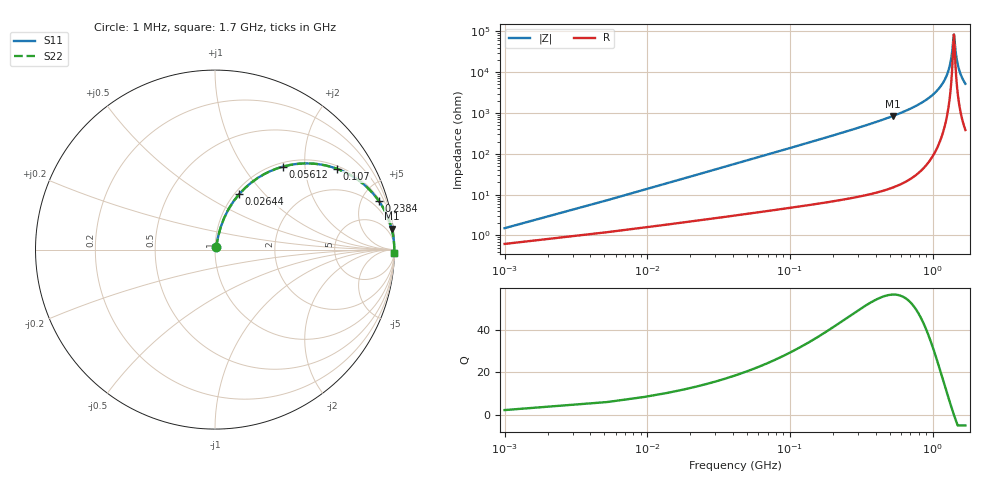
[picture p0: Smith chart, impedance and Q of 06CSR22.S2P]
! Coilcraft 0603CS-R22 Chip Inductor
! 21 May 2002
# MHZ S MA R 50
!Freq  MagS11  AngS11  MagS21  AngS21  MagS12  AngS12  MagS22  AngS22
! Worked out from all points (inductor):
!   402 points, 1 MHz to 1.7 GHz, reference 50 ohm
!   read as one part in series: L = 219 nH near 9.48 MHz
!   highest Q = 56.4 at 526.8 MHz (marker M1), where L = 254 nH
!   self-resonance near 1.409 GHz
!   S11 on the Smith chart (normalised r, x): 1 MHz: 1.01, +0.03; 26.44 MHz: 1.05, +0.73; 56.12 MHz: 1.07, +1.55; 107 MHz: 1.10, +2.96; 238.4 MHz: 1.15, +6.75; 1.7 GHz: open
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1  0.015 64.9  0.9937 -0.8  0.9937 -0.8  0.015 64.9
13.72  0.1831 73.9  0.9654 -10.5  0.9654 -10.5  0.1831 73.9
26.44  0.3354 66.5  0.9194 -19.5  0.9194 -19.5  0.3354 66.5
56.12  0.599 50.6  0.7736 -36.8  0.7736 -36.8  0.599 50.6
107  0.8164 33.4  0.551 -54.7  0.551 -54.7  0.8164 33.4
162.12  0.9056 23.6  0.4005 -64.9  0.4005 -64.9  0.9056 23.6
238.44  0.953 16.4  0.2821 -72.3  0.2821 -72.3  0.953 16.4
285.08  0.9667 13.7  0.2364 -75.1  0.2364 -75.1  0.9667 13.7
526.76  0.991 6.8  0.1177 -82.2  0.1177 -82.2  0.991 6.8
569.16  0.9925 6.1  0.1061 -82.9  0.1061 -82.9  0.9925 6.1
853.24  0.9973 3.1  0.05394 -85.6  0.05394 -85.6  0.9973 3.1
1137.32  0.9986 1.3  0.02245 -85.9  0.02245 -85.9  0.9986 1.3
1239.08  0.9988 0.8  0.01353 -84.5  0.01353 -84.5  0.9988 0.8
1311.16  0.9988 0.4  0.007725 -81.1  0.007725 -81.1  0.9988 0.4
1353.56  0.9988 0.3  0.004515 -74.9  0.004515 -74.9  0.9988 0.3
1374.76  0.9988 0.2  0.003003 -66.9  0.003003 -66.9  0.9988 0.2
1404.44  0.9988 0.0  0.001316 -25.6  0.001316 -25.6  0.9988 0.0
1417.16  0.9988 -0.0  0.001246 16.6  0.001246 16.6  0.9988 -0.0
1459.56  0.9988 -0.2  0.003599 70.0  0.003599 70.0  0.9988 -0.2
1510.44  0.9987 -0.4  0.007024 79.3  0.007024 79.3  0.9987 -0.4
1591  0.9986 -0.7  0.01234 83.2  0.01234 83.2  0.9986 -0.7
1700  0.9984 -1.1  0.01921 84.7  0.01921 84.7  0.9984 -1.1
